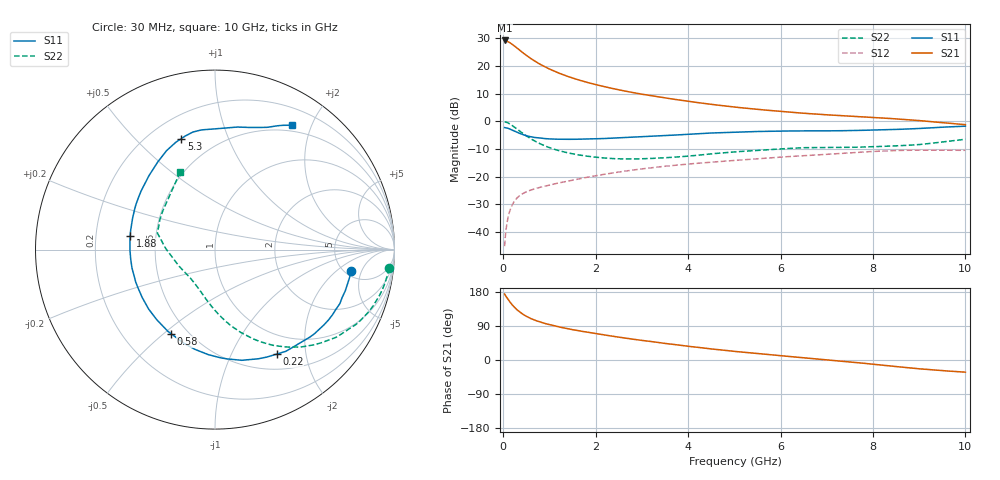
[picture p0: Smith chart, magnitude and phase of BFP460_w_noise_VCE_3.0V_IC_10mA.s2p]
! (c) 2016  Infineon Technologies AG, Munich
! Infineon Technologies  Discrete & RF Semiconductors
! BFP460
! VCE =  3.0 V,  IC =  10 mA
! Common Emitter S-Parameters:  Jan 2016
# GHz  S  MA  R  50
!  f  S11  S21  S12  S22
! GHz  MAG  ANG  MAG  ANG  MAG  ANG  MAG  ANG
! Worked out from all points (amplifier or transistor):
!   229 points, 30 MHz to 10 GHz, reference 50 ohm
!   highest |S21| = 29.1 dB at 30 MHz (marker M1)
!   |S21| within 3 dB of that: start of sweep to 318.5 MHz
!   unconditionally stable (mu >= 1): 2.436 GHz to 7.818 GHz
!   at 280 MHz: K = 0.27, MSG = 27.3 dB, |S12| = -28.0 dB
!   at 1.78 GHz: K = 0.92, MSG = 17.2 dB, |S12| = -20.3 dB
!   at 10 GHz: K = 0.96, MSG = 4.6 dB, |S12| = -10.5 dB
!   lowest NFmin = 0.95 dB at 450 MHz
!   S11 on the Smith chart (normalised r, x): 30 MHz: 5.71, -3.28; 220 MHz: 0.70, -1.51; 580 MHz: 0.41, -0.53; 1.88 GHz: 0.35, +0.07; 5.3 GHz: 0.32, +0.69; 10 GHz: 0.42, +1.72
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0.03  0.7683 -8.8  28.59 173.9  0.0056 84.8  0.9757 -6.1
0.07  0.7569 -20.7  28.06 165.9  0.0126 79.6  0.9583 -13.6
0.14  0.726 -40.2  26.21 154.0  0.0239 70.9  0.8995 -26.3
0.2  0.6908 -55.1  24.23 144.8  0.0317 64.4  0.8341 -35.8
0.22  0.6758 -59.5  23.51 142.2  0.0338 62.6  0.8101 -38.4
0.3  0.6343 -76.5  20.84 132.3  0.0415 56.6  0.7217 -48.8
0.4  0.586 -93.8  17.84 122.7  0.0484 51.4  0.6233 -58.8
0.5  0.5506 -108.1  15.39 115.3  0.0535 48.2  0.5436 -66.6
0.58  0.5288 -117.5  13.82 110.6  0.0568 46.7  0.4929 -71.6
0.7  0.5079 -129.7  11.87 104.3  0.0612 45.1  0.4313 -78.4
0.8  0.4965 -138.1  10.61 100.1  0.0645 44.5  0.3917 -83.0
1  0.4807 -151.8  8.734 93.1  0.0709 44.2  0.3344 -90.7
1.3  0.4738 -167.5  6.866 84.9  0.0805 44.4  0.2816 -100.0
1.7  0.4746 176.8  5.339 75.8  0.0938 44.5  0.2421 -110.4
1.88  0.4788 170.8  4.854 72.1  0.1 44.4  0.231 -114.7
2.6  0.5066 150.7  3.545 58.5  0.1249 42.3  0.2091 -133.1
3.4  0.5455 133.7  2.713 45.5  0.1513 38.2  0.2175 -152.6
5.1  0.6397 109.0  1.767 21.7  0.1994 28.8  0.284 175.7
5.3  0.6462 106.9  1.7 19.5  0.2055 27.6  0.2905 173.7
6.8  0.6706 93.6  1.34 2.8  0.2474 18.4  0.3353 162.8
8.4  0.7072 74.2  1.118 -16.1  0.2948 5.5  0.3573 146.4
10  0.8145 58.3  0.867 -32.1  0.2993 -6.6  0.4738 114.1
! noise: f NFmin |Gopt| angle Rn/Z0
0.45  0.95  0.14  16  0.15
0.9  1.19  0.1  62  0.14
1.9  1.15  0.07  152  0.12
3.5  1.18  0.34  -137  0.11
